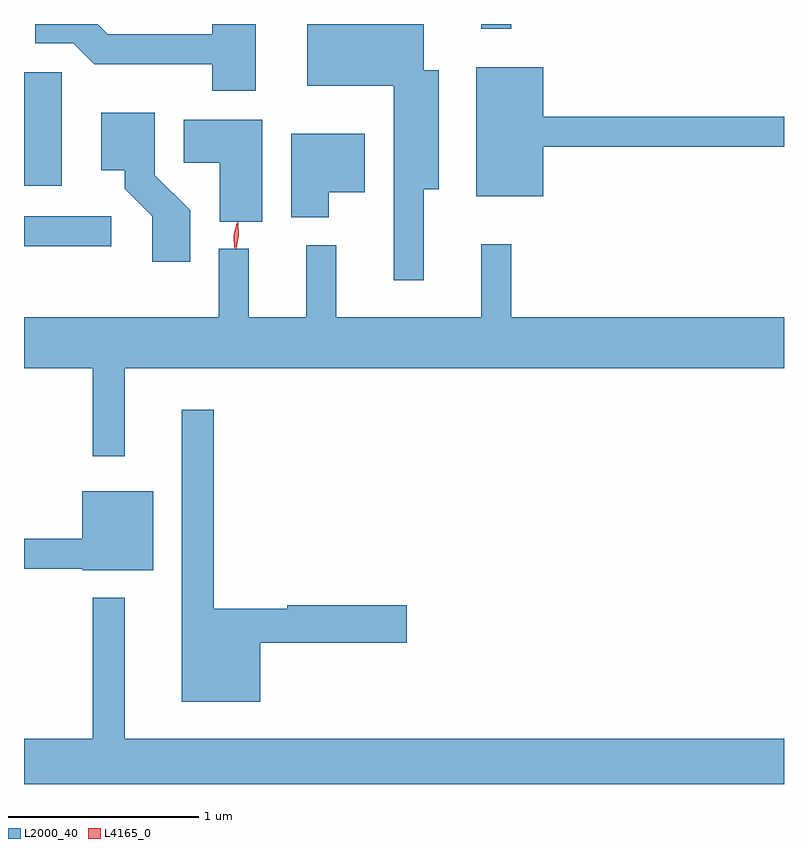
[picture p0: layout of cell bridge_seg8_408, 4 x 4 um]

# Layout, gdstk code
import gdstk
lib = gdstk.Library(unit=1e-6, precision=1e-09)
def R(c, l, rs):  # rectangles x0, y0, x1, y1
    for r in rs: c.add(gdstk.rectangle(r[:2], r[2:], *l))
def P(c, l, *ps):  # polygons
    for p in ps: c.add(gdstk.Polygon(p, *l))
L2000_40 = (2000, 40)
L4165_0 = (4165, 0)

bridge_seg8_408 = lib.new_cell('bridge_seg8_408')
R(bridge_seg8_408, L2000_40, [(825.49,1837.056,825.948,1837.214), (825.49,1837.376,825.689,1837.974), (827.896,1838.203,828.054,1838.227)])
P(bridge_seg8_408, L2000_40, [(827.594,1837.356),(827.674,1837.356),(827.674,1837.984),(827.594,1837.984),(827.594,1838.227),(826.981,1838.227),(826.981,1837.901),(827.436,1837.901),(827.436,1836.878),(827.594,1836.878)],
  [(826.709,1838.227),(826.481,1838.227),(826.481,1838.174),(825.932,1838.174),(825.879,1838.227),(825.548,1838.227),(825.548,1838.126),(825.749,1838.126),(825.859,1838.016),(826.481,1838.016),(826.481,1837.876),(826.709,1837.876)],
  [(828.224,1837.581),(829.49,1837.581),(829.49,1837.739),(828.224,1837.739),(828.224,1837.999),(827.871,1837.999),(827.871,1837.321),(828.224,1837.321)],
  [(826.364,1837.247),(826.179,1837.432),(826.179,1837.759),(825.896,1837.759),(825.896,1837.456),(826.021,1837.456),(826.021,1837.359),(826.166,1837.214),(826.166,1836.976),(826.364,1836.976)],
  [(826.744,1837.724),(826.331,1837.724),(826.331,1837.496),(826.521,1837.496),(826.521,1837.186),(826.744,1837.186)],
  [(827.094,1837.341),(827.284,1837.341),(827.284,1837.649),(826.896,1837.649),(826.896,1837.211),(827.094,1837.211)],
  [(826.019,1836.416),(829.49,1836.416),(829.49,1836.684),(828.054,1836.684),(828.054,1837.068),(827.896,1837.068),(827.896,1836.684),(827.134,1836.684),(827.134,1837.063),(826.976,1837.063),(826.976,1836.684),(826.674,1836.684),(826.674,1837.043),(826.516,1837.043),(826.516,1836.684),(825.49,1836.684),(825.49,1836.416),(825.851,1836.416),(825.851,1835.953),(826.019,1835.953)],
  [(826.734,1834.971),(827.504,1834.971),(827.504,1835.169),(826.876,1835.169),(826.876,1835.149),(826.489,1835.149),(826.489,1836.198),(826.321,1836.198),(826.321,1834.661),(826.734,1834.661)],
  [(826.169,1835.769),(825.796,1835.769),(825.796,1835.519),(825.49,1835.519),(825.49,1835.361),(825.8,1835.361),(825.8,1835.351),(826.169,1835.351)],
  [(829.49,1834.464),(826.019,1834.464),(826.019,1835.208),(825.851,1835.208),(825.851,1834.464),(825.49,1834.464),(825.49,1834.227),(829.49,1834.227)])
P(bridge_seg8_408, L4165_0, [(826.597,1837.049),(826.597,1837.049),(826.594,1837.116),(826.61,1837.18),(826.61,1837.181),(826.611,1837.18),(826.614,1837.114),(826.598,1837.049)],
  [(826.605,1837.045),(826.605,1837.045),(826.601,1837.115),(826.616,1837.182),(826.616,1837.183),(826.617,1837.182),(826.621,1837.113),(826.606,1837.045)])

lib.write_gds('bridge_seg8_408.gds')
